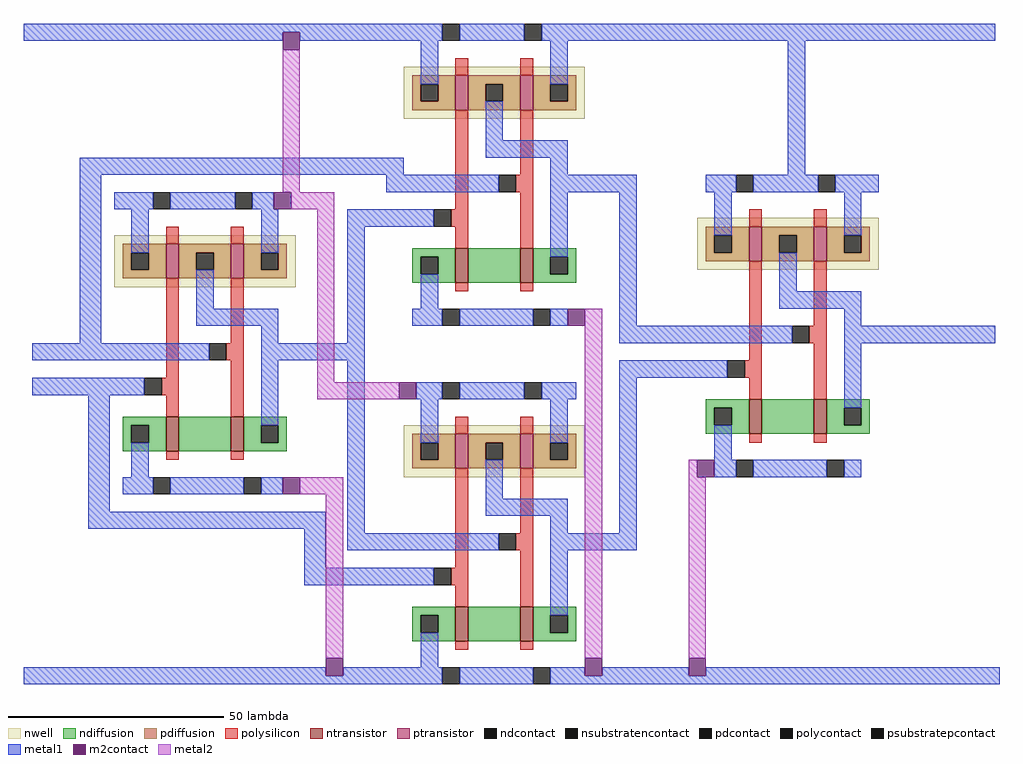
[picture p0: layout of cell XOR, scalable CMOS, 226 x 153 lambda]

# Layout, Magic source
magic
tech scmos
<< nwell >>
rect -30 55 12 67
rect -97 16 -55 28
rect 38 20 80 32
rect -30 -28 12 -16
<< polysilicon >>
rect -18 65 -15 69
rect -3 65 0 69
rect -18 34 -15 57
rect -3 42 0 57
rect -4 38 0 42
rect -19 30 -15 34
rect -85 26 -82 30
rect -70 26 -67 30
rect -18 25 -15 30
rect -3 25 0 38
rect 50 30 53 34
rect 65 30 68 34
rect -85 -5 -82 18
rect -70 3 -67 18
rect -18 15 -15 17
rect -3 15 0 17
rect -71 -1 -67 3
rect 50 -1 53 22
rect 65 7 68 22
rect 64 3 68 7
rect -86 -9 -82 -5
rect -85 -14 -82 -9
rect -70 -14 -67 -1
rect 49 -5 53 -1
rect 50 -10 53 -5
rect 65 -10 68 3
rect -18 -18 -15 -14
rect -3 -18 0 -14
rect -85 -24 -82 -22
rect -70 -24 -67 -22
rect 50 -20 53 -18
rect 65 -20 68 -18
rect -18 -49 -15 -26
rect -3 -41 0 -26
rect -4 -45 0 -41
rect -19 -53 -15 -49
rect -18 -58 -15 -53
rect -3 -58 0 -45
rect -18 -68 -15 -66
rect -3 -68 0 -66
<< ndiffusion >>
rect -28 23 -18 25
rect -28 19 -26 23
rect -22 19 -18 23
rect -28 17 -18 19
rect -15 17 -3 25
rect 0 23 10 25
rect 0 19 4 23
rect 8 19 10 23
rect 0 17 10 19
rect 40 -12 50 -10
rect -95 -16 -85 -14
rect -95 -20 -93 -16
rect -89 -20 -85 -16
rect -95 -22 -85 -20
rect -82 -22 -70 -14
rect -67 -16 -57 -14
rect -67 -20 -63 -16
rect -59 -20 -57 -16
rect 40 -16 42 -12
rect 46 -16 50 -12
rect 40 -18 50 -16
rect 53 -18 65 -10
rect 68 -12 78 -10
rect 68 -16 72 -12
rect 76 -16 78 -12
rect 68 -18 78 -16
rect -67 -22 -57 -20
rect -28 -60 -18 -58
rect -28 -64 -26 -60
rect -22 -64 -18 -60
rect -28 -66 -18 -64
rect -15 -66 -3 -58
rect 0 -60 10 -58
rect 0 -64 4 -60
rect 8 -64 10 -60
rect 0 -66 10 -64
<< pdiffusion >>
rect -28 63 -18 65
rect -28 59 -26 63
rect -22 59 -18 63
rect -28 57 -18 59
rect -15 63 -3 65
rect -15 59 -11 63
rect -7 59 -3 63
rect -15 57 -3 59
rect 0 63 10 65
rect 0 59 4 63
rect 8 59 10 63
rect 0 57 10 59
rect -95 24 -85 26
rect -95 20 -93 24
rect -89 20 -85 24
rect -95 18 -85 20
rect -82 24 -70 26
rect -82 20 -78 24
rect -74 20 -70 24
rect -82 18 -70 20
rect -67 24 -57 26
rect 40 28 50 30
rect -67 20 -63 24
rect -59 20 -57 24
rect -67 18 -57 20
rect 40 24 42 28
rect 46 24 50 28
rect 40 22 50 24
rect 53 28 65 30
rect 53 24 57 28
rect 61 24 65 28
rect 53 22 65 24
rect 68 28 78 30
rect 68 24 72 28
rect 76 24 78 28
rect 68 22 78 24
rect -28 -20 -18 -18
rect -28 -24 -26 -20
rect -22 -24 -18 -20
rect -28 -26 -18 -24
rect -15 -20 -3 -18
rect -15 -24 -11 -20
rect -7 -24 -3 -20
rect -15 -26 -3 -24
rect 0 -20 10 -18
rect 0 -24 4 -20
rect 8 -24 10 -20
rect 0 -26 10 -24
<< metal1 >>
rect -118 75 -21 77
rect -118 73 -58 75
rect -54 73 -21 75
rect -17 73 -2 77
rect 2 73 107 77
rect -26 63 -22 73
rect 4 63 8 73
rect -11 50 -7 59
rect -11 46 8 50
rect -105 42 -30 46
rect 4 42 8 46
rect 59 42 63 73
rect -105 3 -100 42
rect -34 38 -8 42
rect 4 38 24 42
rect 40 38 47 42
rect 51 38 66 42
rect 70 38 80 42
rect -97 34 -88 38
rect -84 34 -69 38
rect -65 34 -60 38
rect -93 24 -89 34
rect -63 24 -59 34
rect -43 30 -23 34
rect -78 11 -74 20
rect -78 7 -59 11
rect -63 3 -59 7
rect -43 3 -39 30
rect 4 23 8 38
rect -26 11 -22 19
rect -28 7 -21 11
rect -17 7 0 11
rect 4 7 8 11
rect 20 7 24 38
rect 42 28 46 38
rect 72 28 76 38
rect 57 15 61 24
rect 57 11 76 15
rect 72 7 76 11
rect 20 3 60 7
rect 72 3 107 7
rect -116 -1 -75 3
rect -63 -1 -39 3
rect -116 -9 -90 -5
rect -103 -36 -98 -9
rect -63 -16 -59 -1
rect -93 -28 -89 -20
rect -95 -32 -88 -28
rect -84 -32 -67 -28
rect -63 -32 -58 -28
rect -103 -40 -48 -36
rect -53 -49 -48 -40
rect -43 -41 -39 -1
rect 20 -5 45 -1
rect -27 -10 -21 -6
rect -17 -10 -2 -6
rect 2 -10 10 -6
rect -26 -20 -22 -10
rect 4 -20 8 -10
rect -11 -33 -7 -24
rect -11 -37 8 -33
rect 4 -41 8 -37
rect 20 -41 24 -5
rect 72 -12 76 3
rect 42 -24 46 -16
rect 42 -28 47 -24
rect 51 -28 68 -24
rect 72 -28 76 -24
rect -43 -45 -8 -41
rect 4 -45 24 -41
rect -53 -53 -23 -49
rect 4 -60 8 -45
rect -118 -74 -48 -72
rect -26 -72 -22 -64
rect -44 -74 -21 -72
rect -118 -76 -21 -74
rect -17 -76 0 -72
rect 4 -74 12 -72
rect 16 -74 36 -72
rect 40 -74 108 -72
rect 4 -76 108 -74
<< metal2 >>
rect -58 38 -54 71
rect -56 34 -46 38
rect -50 -6 -46 34
rect -50 -10 -31 -6
rect -54 -32 -44 -28
rect -48 -70 -44 -32
rect 12 -70 16 11
rect 36 -28 38 -24
rect 36 -70 40 -28
<< ntransistor >>
rect -18 17 -15 25
rect -3 17 0 25
rect -85 -22 -82 -14
rect -70 -22 -67 -14
rect 50 -18 53 -10
rect 65 -18 68 -10
rect -18 -66 -15 -58
rect -3 -66 0 -58
<< ptransistor >>
rect -18 57 -15 65
rect -3 57 0 65
rect -85 18 -82 26
rect -70 18 -67 26
rect 50 22 53 30
rect 65 22 68 30
rect -18 -26 -15 -18
rect -3 -26 0 -18
<< polycontact >>
rect -8 38 -4 42
rect -23 30 -19 34
rect -75 -1 -71 3
rect 60 3 64 7
rect -90 -9 -86 -5
rect 45 -5 49 -1
rect -8 -45 -4 -41
rect -23 -53 -19 -49
<< ndcontact >>
rect -26 19 -22 23
rect 4 19 8 23
rect -93 -20 -89 -16
rect -63 -20 -59 -16
rect 42 -16 46 -12
rect 72 -16 76 -12
rect -26 -64 -22 -60
rect 4 -64 8 -60
<< pdcontact >>
rect -26 59 -22 63
rect -11 59 -7 63
rect 4 59 8 63
rect -93 20 -89 24
rect -78 20 -74 24
rect -63 20 -59 24
rect 42 24 46 28
rect 57 24 61 28
rect 72 24 76 28
rect -26 -24 -22 -20
rect -11 -24 -7 -20
rect 4 -24 8 -20
<< m2contact >>
rect -58 71 -54 75
rect -60 34 -56 38
rect 8 7 12 11
rect -58 -32 -54 -28
rect -31 -10 -27 -6
rect 38 -28 42 -24
rect -48 -74 -44 -70
rect 12 -74 16 -70
rect 36 -74 40 -70
<< psubstratepcontact >>
rect -21 7 -17 11
rect 0 7 4 11
rect -88 -32 -84 -28
rect -67 -32 -63 -28
rect 47 -28 51 -24
rect 68 -28 72 -24
rect -21 -76 -17 -72
rect 0 -76 4 -72
<< nsubstratencontact >>
rect -21 73 -17 77
rect -2 73 2 77
rect -88 34 -84 38
rect -69 34 -65 38
rect 47 38 51 42
rect 66 38 70 42
rect -21 -10 -17 -6
rect -2 -10 2 -6
<< end >>
